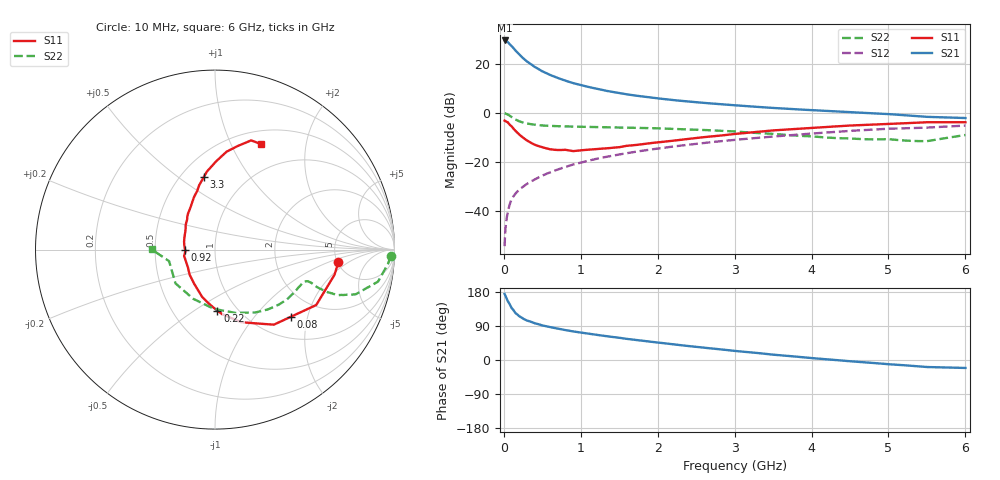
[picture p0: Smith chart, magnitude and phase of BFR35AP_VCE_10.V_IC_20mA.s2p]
! Infineon Technologies  Discrete & RF Semiconductors
! BFR35AP
! VCE =  10. V,  IC =  20 mA
! Common Emitter S-Parameters:  Nov 2015
# GHz  S  MA  R  50
!  f  S11  S21  S12  S22
! GHz  MAG  ANG  MAG  ANG  MAG  ANG  MAG  ANG
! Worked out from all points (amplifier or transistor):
!   210 points, 10 MHz to 6 GHz, reference 50 ohm
!   highest |S21| = 29.5 dB at 10 MHz (marker M1)
!   |S21| within 3 dB of that: start of sweep to 121.1 MHz
!   unconditionally stable (mu >= 1): 467.4 MHz to 2.603 GHz
!   at 185 MHz: K = 0.68, MSG = 28.0 dB, |S12| = -31.8 dB
!   at 1.52 GHz: K = 1.09, MAG = 10.6 dB, |S12| = -16.9 dB
!   at 6 GHz: K = 0.88, MSG = 1.5 dB, |S12| = -5.2 dB
!   S11 on the Smith chart (normalised r, x): 10 MHz: 5.09, -1.38; 80 MHz: 1.44, -1.58; 220 MHz: 0.81, -0.62; 920 MHz: 0.72, -0.01; 3.3 GHz: 0.64, +0.63; 6 GHz: 0.66, +1.31
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0.01  0.6912 -5.9  29.86 174.3  0.0019 88.9  0.9796 -2.1
0.02  0.6803 -11.9  29.45 169.4  0.0041 78.4  0.968 -4.6
0.05  0.643 -28.7  27.86 155.8  0.0093 76.3  0.9256 -11.1
0.08  0.5645 -41.6  24.72 145.7  0.014 71.0  0.8615 -14.9
0.1  0.5315 -51.9  23.15 137.6  0.0172 69.1  0.8211 -17.7
0.15  0.4301 -70.2  18.72 124.0  0.0223 65.7  0.7312 -20.3
0.2  0.3611 -83.9  15.46 115.5  0.0271 65.9  0.6706 -20.7
0.22  0.3396 -87.8  14.44 113.2  0.0287 65.9  0.6543 -20.6
0.26  0.3025 -96.5  12.58 108.1  0.0319 66.2  0.6244 -20.4
0.3  0.2727 -105.3  11.14 104.1  0.0354 67.3  0.6028 -20.1
0.4  0.2231 -121.3  8.644 97.1  0.0435 68.3  0.5696 -19.1
0.5  0.1986 -135.4  7.006 91.2  0.0521 69.5  0.5498 -18.8
0.6  0.1804 -146.9  5.925 86.7  0.0608 69.9  0.5399 -19.0
0.92  0.1662 -178.7  3.955 74.8  0.0894 70.1  0.5212 -21.1
1.02  0.1725 172.3  3.604 71.9  0.0979 69.8  0.5177 -22.2
1.4  0.1924 149.5  2.681 61.1  0.1319 67.5  0.5055 -27.1
2.02  0.2508 126.7  1.953 45.7  0.1879 62.4  0.4803 -36.9
3.1  0.3822 102.0  1.386 22.2  0.2893 51.7  0.4049 -60.0
3.3  0.4088 98.8  1.317 18.4  0.3081 49.4  0.386 -65.7
4.1  0.5025 88.0  1.11 3.5  0.3861 40.1  0.3205 -95.2
5.1  0.6006 76.3  0.916 -12.4  0.4769 26.0  0.2799 -144.3
6  0.6412 66.4  0.781 -21.0  0.5481 14.9  0.3524 179.9
